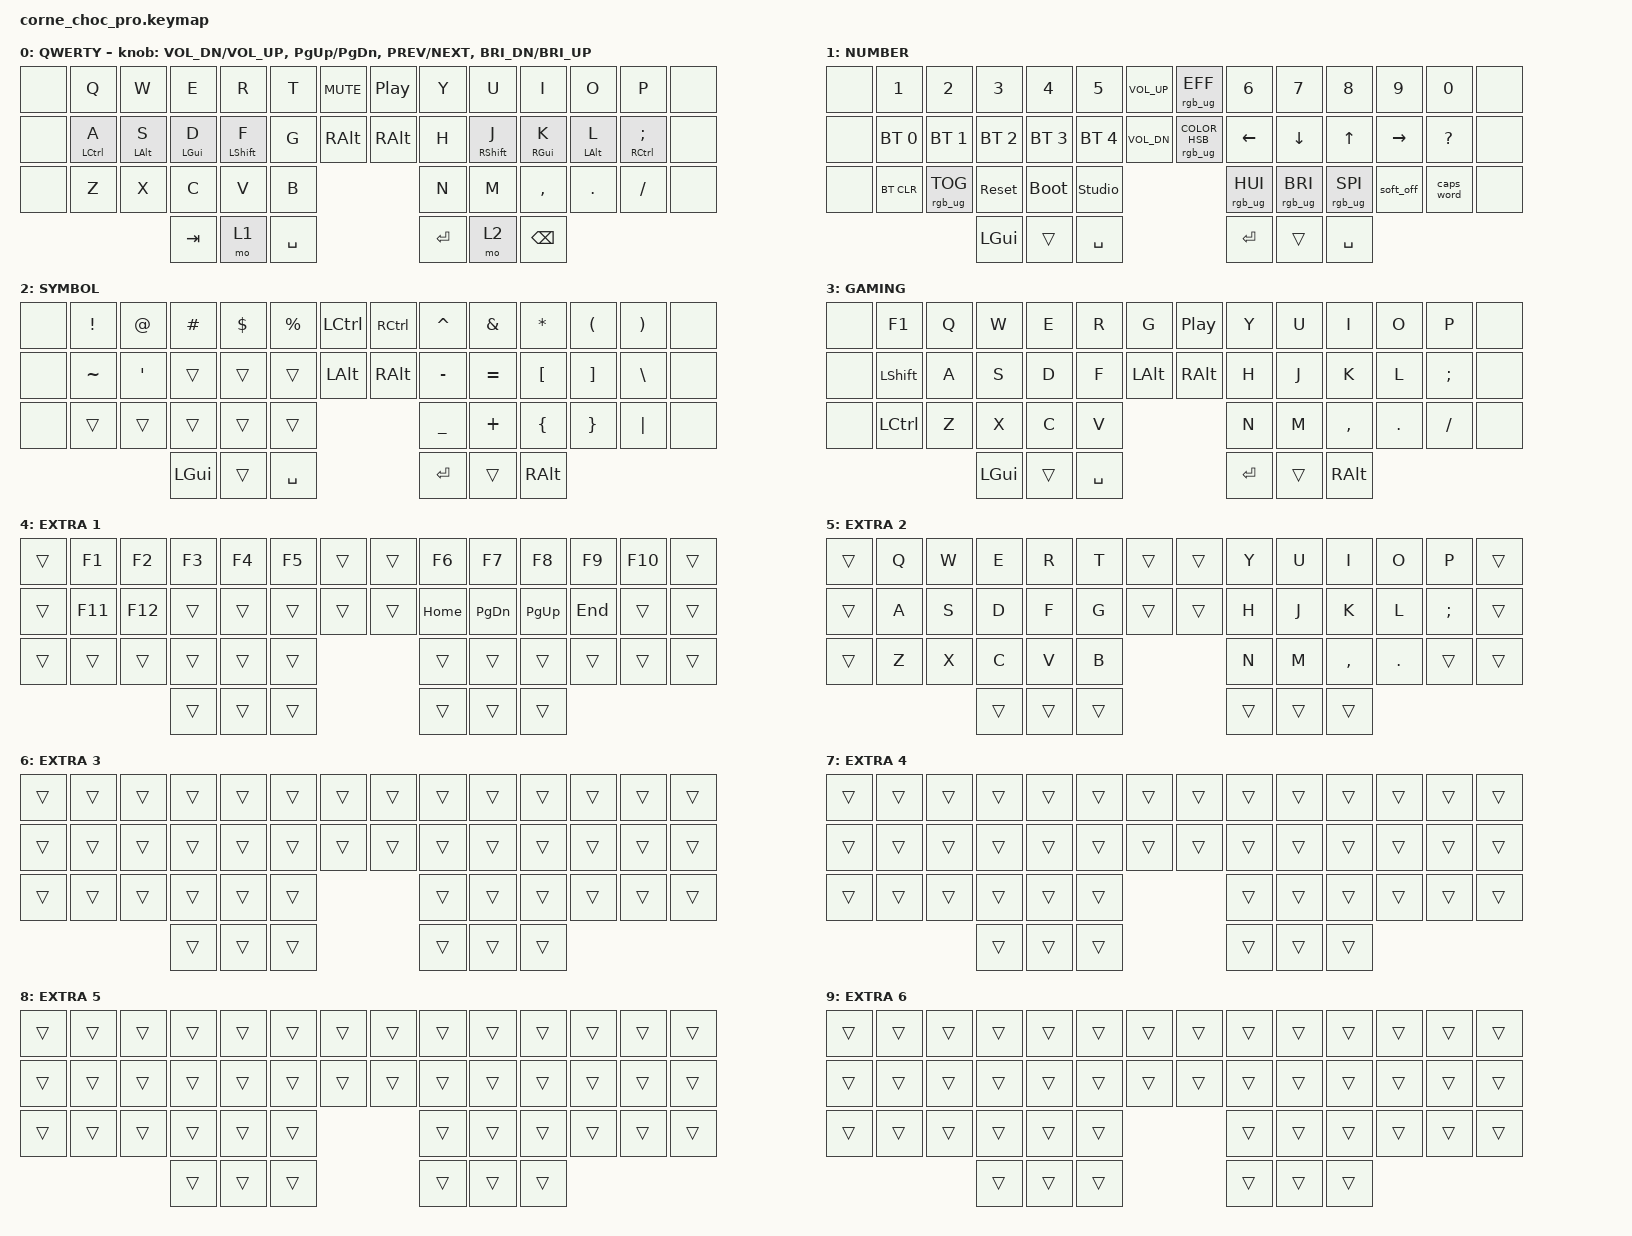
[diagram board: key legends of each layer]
/*
 * Copyright (c) 2020 The ZMK Contributors
 *
 * SPDX-License-Identifier: MIT
 */

#include <behaviors.dtsi>
#include <dt-bindings/zmk/bt.h>
#include <dt-bindings/zmk/keys.h>
#include <dt-bindings/zmk/rgb.h>

#define DEFAULT 0
#define LOWER   1
#define RAISE   2
#define GAMING  3

/ {
    chosen { zmk,physical-layout = &default_layout; };
};

/ {
    behaviors {
        hr: hr {
            compatible = "zmk,behavior-hold-tap";
            label = "HR";
            bindings = <&kp>, <&kp>;

            #binding-cells = <2>;
            tapping-term-ms = <280>;
            quick-tap-ms = <175>;
            hold-trigger-key-positions = <22 24 23 26 25 8 9 11 12 13 22 23 24 25 26 27 34 35 36 37 38 39 10 7 8 9 10 21 22 23 24 34 35 36 43 44 45>;
            hold-trigger-on-release;
            flavor = "balanced";
            require-prior-idle-ms = <150>;
        };

        hl: hl {
            compatible = "zmk,behavior-hold-tap";
            label = "HL";
            bindings = <&kp>, <&kp>;

            #binding-cells = <2>;
            tapping-term-ms = <280>;
            quick-tap-ms = <175>;
            hold-trigger-on-release;
            flavor = "balanced";
            require-prior-idle-ms = <150>;
            hold-trigger-key-positions = <0 1 2 3 4 5 6 14 15 16 17 18 19 20 28 29 30 31 32 33 40 41 42>;
        };
    };

    combos {
        compatible = "zmk,combos";

        jk-esc {
            bindings = <&kp ESCAPE>;
            key-positions = <23 24>;
        };

        combo_gaming {
            timeout-ms = <200>;
            key-positions = <1 40 43>;
            bindings = <&tog GAMING>;
        };

        combo_exit_gaming {
            timeout-ms = <200>;
            key-positions = <2 40 43>;
            bindings = <&to DEFAULT>;
            layers = <GAMING>;
        };
    };

    keymap {
        compatible = "zmk,keymap";

        default_layer {
            display-name = "QWERTY";

            // --------------------------------------------------------------------------------
            // |  TAB |  Q  |  W  |  E  |  R  |  T  |  MUTE |  PP   |  Y  |  U   |  I  |  O  |  P  | BSPC |
            // | CTRL |  A  |  S  |  D  |  F  |  G  |  LALT |  RALT |  H  |  J   |  K  |  L  |  ;  |  '   |
            // | SHFT |  Z  |  X  |  C  |  V  |  B  |               |  N  |  M   |  ,  |  .  |  /  | ESC  |
            //                    | GUI | LWR | SPC |               | ENT | RSE  | ALT |

            bindings = <
&none  &kp Q        &kp W           &kp E           &kp R             &kp T      &kp C_MUTE  &kp C_PP  &kp Y      &kp U              &kp I            &kp O           &kp P           &none
&none  &hl LCTRL A  &hl LEFT_ALT S  &hl LEFT_GUI D  &hl LEFT_SHIFT F  &kp G      &kp RALT    &kp RALT  &kp H      &hr RIGHT_SHIFT J  &hr RIGHT_GUI K  &hr LEFT_ALT L  &hr RCTRL SEMI  &none
&none  &kp Z        &kp X           &kp C           &kp V             &kp B                            &kp N      &kp M              &kp COMMA        &kp DOT         &kp FSLH        &none
                                    &kp TAB         &mo 1             &kp SPACE                        &kp ENTER  &mo 2              &kp BACKSPACE
            >;

            sensor-bindings = <&inc_dec_kp C_VOL_DN C_VOL_UP &inc_dec_kp PG_UP PG_DN &inc_dec_kp C_PREV C_NEXT &inc_dec_kp C_BRI_DN C_BRI_UP>;
        };

        lower_layer {
            display-name = "NUMBER";

            // -----------------------------------------------------------------------------------------
            // |  TAB |  1  |  2  |  3  |  4  |  5    |  LCTRL | RCTRL |  6  |  7  |  8  |  9  |  0  | BSPC |
            // | CTRL | BT1 | BT2 | BT3 | BT4 | BT5   |  LALT  | RALT  | LFT | DWN |  UP | RGT |     |      |
            // | SHFT | BTCR| RGB | RST | BOOT| Unlock|        |       |     |     |     |     |     |      |
            //                    | GUI |     | SPC   |        | ENT   |     | ALT |

            bindings = <
&none  &kp N1        &kp N2           &kp N3        &kp N4        &kp N5          &kp C_VOL_UP  &rgb_ug RGB_EFF                 &kp N6           &kp N7           &kp N8           &kp N9     &kp N0        &none
&none  &bt BT_SEL 0  &bt BT_SEL 1     &bt BT_SEL 2  &bt BT_SEL 3  &bt BT_SEL 4    &kp C_VOL_DN  &rgb_ug RGB_COLOR_HSB(0,0,100)  &kp LEFT         &kp DOWN         &kp UP           &kp RIGHT  &kp QUESTION  &none
&none  &bt BT_CLR    &rgb_ug RGB_TOG  &sys_reset    &bootloader   &studio_unlock                                                &rgb_ug RGB_HUI  &rgb_ug RGB_BRI  &rgb_ug RGB_SPI  &soft_off  &caps_word    &none
                                      &kp LGUI      &trans        &kp SPACE                                                     &kp ENTER        &trans           &kp SPACE
            >;
        };

        raise_layer {
            display-name = "SYMBOL";

            // -----------------------------------------------------------------------------------------
            // |  TAB |  !  |  @  |  #  |  $  |  %  | LCTRL | RCTRL |  ^  |  &  |  *  |  (  |  )  | BSPC |
            // | CTRL |     |     |     |     |     |  LALT | RALT  |  -  |  =  |  [  |  ]  |  \  |  `   |
            // | SHFT |     |     |     |     |     |               |  _  |  +  |  {  |  }  | "|" |  ~   |
            //                    | GUI |     | SPC |               | ENT |     | ALT |

            bindings = <
&none  &kp EXCL   &kp AT            &kp HASH  &kp DLLR  &kp PRCNT  &kp LCTRL  &kp RCTRL  &kp CARET  &kp AMPS   &kp ASTRK  &kp LPAR  &kp RPAR  &none
&none  &kp TILDE  &kp SINGLE_QUOTE  &trans    &trans    &trans     &kp LALT   &kp RALT   &kp MINUS  &kp EQUAL  &kp LBKT   &kp RBKT  &kp BSLH  &none
&none  &trans     &trans            &trans    &trans    &trans                           &kp UNDER  &kp PLUS   &kp LBRC   &kp RBRC  &kp PIPE  &none
                                    &kp LGUI  &trans    &kp SPACE                        &kp RET    &trans     &kp RALT
            >;
        };

        gaming_layer {
            display-name = "GAMING";

            // -------------------------------------------------------------------------------------------
            // |  TAB |  Q  |  W  |  E  |  R  |  T  |  MUTE |  PP  |  Y  |  U  |  I  |  O  |  P  | BSPC |
            // | CTRL |  A  |  S  |  D  |  F  |  G  |  LALT | RALT |  H  |  J  |  K  |  L  |  ;  |  '   |
            // | SHFT |  Z  |  X  |  C  |  V  |  B  |              |  N  |  M  |  ,  |  .  |  /  | ESC  |
            //                    | GUI |     | SPC |              | ENT |     | ALT |
            //
            // WASD moved to ESDF. Home row mods disabled (all plain &kp).

            bindings = <
&none  &kp F1          &kp Q  &kp W     &kp E   &kp R      &kp G     &kp C_PP  &kp Y      &kp U   &kp I      &kp O    &kp P     &none
&none  &kp LEFT_SHIFT  &kp A  &kp S     &kp D   &kp F      &kp LALT  &kp RALT  &kp H      &kp J   &kp K      &kp L    &kp SEMI  &none
&none  &kp LCTRL       &kp Z  &kp X     &kp C   &kp V                          &kp N      &kp M   &kp COMMA  &kp DOT  &kp FSLH  &none
                              &kp LGUI  &trans  &kp SPACE                      &kp ENTER  &trans  &kp RALT
            >;
        };

        extra_layer_1 {
            display-name = "EXTRA 1";
            bindings = <
&trans  &kp F1   &kp F2   &kp F3  &kp F4  &kp F5  &trans  &trans  &kp F6    &kp F7         &kp F8     &kp F9   &kp F10  &trans
&trans  &kp F11  &kp F12  &trans  &trans  &trans  &trans  &trans  &kp HOME  &kp PAGE_DOWN  &kp PG_UP  &kp END  &trans   &trans
&trans  &trans   &trans   &trans  &trans  &trans                  &trans    &trans         &trans     &trans   &trans   &trans
                          &trans  &trans  &trans                  &trans    &trans         &trans
            >;
        };

        extra_layer_2 {
            display-name = "EXTRA 2";
            bindings = <
&trans  &kp Q  &kp W  &kp E   &kp R   &kp T   &trans  &trans  &kp Y   &kp U   &kp I      &kp O    &kp P     &trans
&trans  &kp A  &kp S  &kp D   &kp F   &kp G   &trans  &trans  &kp H   &kp J   &kp K      &kp L    &kp SEMI  &trans
&trans  &kp Z  &kp X  &kp C   &kp V   &kp B                   &kp N   &kp M   &kp COMMA  &kp DOT  &trans    &trans
                      &trans  &trans  &trans                  &trans  &trans  &trans
            >;
        };

        extra_layer_3 {
            display-name = "EXTRA 3";
            bindings = <
&trans  &trans  &trans  &trans  &trans  &trans  &trans  &trans  &trans  &trans  &trans  &trans  &trans  &trans
&trans  &trans  &trans  &trans  &trans  &trans  &trans  &trans  &trans  &trans  &trans  &trans  &trans  &trans
&trans  &trans  &trans  &trans  &trans  &trans                  &trans  &trans  &trans  &trans  &trans  &trans
                        &trans  &trans  &trans                  &trans  &trans  &trans
            >;
        };

        extra_layer_4 {
            display-name = "EXTRA 4";
            bindings = <
&trans  &trans  &trans  &trans  &trans  &trans  &trans  &trans  &trans  &trans  &trans  &trans  &trans  &trans
&trans  &trans  &trans  &trans  &trans  &trans  &trans  &trans  &trans  &trans  &trans  &trans  &trans  &trans
&trans  &trans  &trans  &trans  &trans  &trans                  &trans  &trans  &trans  &trans  &trans  &trans
                        &trans  &trans  &trans                  &trans  &trans  &trans
            >;
        };

        extra_layer_5 {
            display-name = "EXTRA 5";
            bindings = <
&trans  &trans  &trans  &trans  &trans  &trans  &trans  &trans  &trans  &trans  &trans  &trans  &trans  &trans
&trans  &trans  &trans  &trans  &trans  &trans  &trans  &trans  &trans  &trans  &trans  &trans  &trans  &trans
&trans  &trans  &trans  &trans  &trans  &trans                  &trans  &trans  &trans  &trans  &trans  &trans
                        &trans  &trans  &trans                  &trans  &trans  &trans
            >;
        };

        extra_layer_6 {
            display-name = "EXTRA 6";
            bindings = <
&trans  &trans  &trans  &trans  &trans  &trans  &trans  &trans  &trans  &trans  &trans  &trans  &trans  &trans
&trans  &trans  &trans  &trans  &trans  &trans  &trans  &trans  &trans  &trans  &trans  &trans  &trans  &trans
&trans  &trans  &trans  &trans  &trans  &trans                  &trans  &trans  &trans  &trans  &trans  &trans
                        &trans  &trans  &trans                  &trans  &trans  &trans
            >;
        };
    };
};
